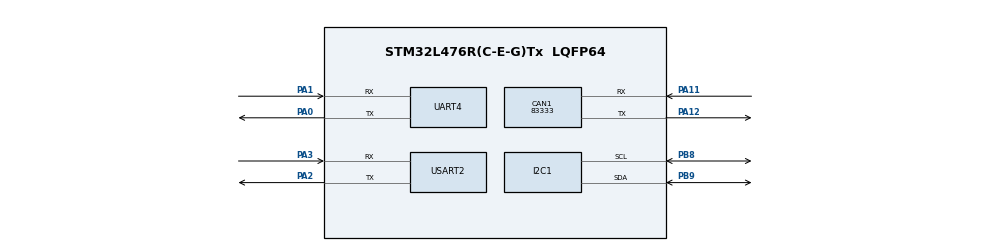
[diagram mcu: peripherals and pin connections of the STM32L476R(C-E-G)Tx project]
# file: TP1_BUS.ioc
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CAN1.CalculateBaudRate=83333
CAN1.CalculateTimeBit=12000.00
CAN1.CalculateTimeQuantum=4000.0
Mcu.Family=STM32L4
Mcu.Name=STM32L476R(C-E-G)Tx
Mcu.Package=LQFP64
NVIC.PriorityGroup=NVIC_PRIORITYGROUP_4
NVIC.UART4_IRQn=true\:0\:0\:false\:false\:true\:true\:true
NVIC.USART2_IRQn=true\:0\:0\:false\:false\:true\:true\:true
PA0.Mode=Asynchronous
PA0.Signal=UART4_TX
PA1.Mode=Asynchronous
PA1.Signal=UART4_RX
PA11.Mode=CAN_Activate
PA11.Signal=CAN1_RX
PA12.Mode=CAN_Activate
PA12.Signal=CAN1_TX
PA13\ (JTMS-SWDIO).Mode=Serial_Wire
PA13\ (JTMS-SWDIO).Signal=SYS_JTMS-SWDIO
PA14\ (JTCK-SWCLK).Mode=Serial_Wire
PA14\ (JTCK-SWCLK).Signal=SYS_JTCK-SWCLK
PA2.Mode=Asynchronous
PA2.Signal=USART2_TX
PA3.Mode=Asynchronous
PA3.Signal=USART2_RX
PB8.Mode=I2C
PB8.Signal=I2C1_SCL
PB9.Mode=I2C
PB9.Signal=I2C1_SDA
ProjectManager.HeapSize=0x200
ProjectManager.StackSize=0x400
ProjectManager.TargetToolchain=STM32CubeIDE
RCC.HSE_VALUE=8000000
RCC.HSI_VALUE=16000000
RCC.LSE_VALUE=32768
RCC.MSI_VALUE=4000000
RCC.VCOOutputFreq_Value=32000000
USART2.VirtualMode-Asynchronous=VM_ASYNC
board=custom

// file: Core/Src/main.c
/* USER CODE BEGIN Header */
/**
 ******************************************************************************
 * @file           : main.c
 * @brief          : Main program body
 ******************************************************************************
 * @attention
 *
 * <h2><center>&copy; Copyright (c) 2021 STMicroelectronics.
 * All rights reserved.</center></h2>
 *
 * This software component is licensed by ST under BSD 3-Clause license,
 * the "License"; You may not use this file except in compliance with the
 * License. You may obtain a copy of the License at:
 *                        opensource.org/licenses/BSD-3-Clause
 *
 ******************************************************************************
 */
/* USER CODE END Header */
#include "main.h"
#include "can.h"
#include "i2c.h"
#include "usart.h"
#include "gpio.h"

/* USER CODE BEGIN PV */
BMP280_S32_t T_nc;
BMP280_S32_t P_nc;
BMP280_S32_t T;
BMP280_U32_t P;

char echo[1];
int uart_it = 0;
/* USER CODE END PV */

void SystemClock_Config(void);

int main(void)
{

  /* MCU Configuration--------------------------------------------------------*/

  /* Reset of all peripherals, Initializes the Flash interface and the Systick. */
  HAL_Init();

  /* Configure the system clock */
  SystemClock_Config();

  /* Initialize all configured peripherals */
  MX_GPIO_Init();
  MX_CAN1_Init();
  MX_I2C1_Init();
  MX_USART2_UART_Init();
  MX_UART4_Init();
  /* USER CODE BEGIN 2 */
	printf("\r\n========== TP1 : Bus et Réseaux ==========\r\n");
	Get_id();
	Set_config();
	Get_calib();
	T_nc = Get_T();
	printf("Temperature: %.2f C\r\n",(float)T_nc/100);
	P_nc = Get_P();
	printf("Pression: %.0f Pa\r\n",(float)P_nc/256);

	T=bmp280_compensate_T_int32(T_nc);
	printf("Temperature compensée: %.2f C\r\n",(float)T/100);
	P=bmp280_compensate_P_int64(P_nc);
	printf("Pression compensée: %.0f Pa\r\n",(float)P/256);
  /* USER CODE END 2 */

  /* Infinite loop */
  /* USER CODE BEGIN WHILE */
	HAL_UART_Receive_IT(&huart2, (uint8_t *) echo, 1);
	while (1)
	{
		if (uart_it==1)
		{
			HAL_UART_Transmit(&huart2, (uint8_t *)&echo, 1, 0xFFFF);
			uart_it=0;
		}
    /* USER CODE END WHILE */

	}
}

void SystemClock_Config(void)
{
  RCC_OscInitTypeDef RCC_OscInitStruct = {0};
  RCC_ClkInitTypeDef RCC_ClkInitStruct = {0};

  /** Configure the main internal regulator output voltage
  */
  if (HAL_PWREx_ControlVoltageScaling(PWR_REGULATOR_VOLTAGE_SCALE1) != HAL_OK)
  {
    Error_Handler();
  }
  /** Initializes the RCC Oscillators according to the specified parameters
  * in the RCC_OscInitTypeDef structure.
  */
  RCC_OscInitStruct.OscillatorType = RCC_OSCILLATORTYPE_MSI;
  RCC_OscInitStruct.MSIState = RCC_MSI_ON;
  RCC_OscInitStruct.MSICalibrationValue = 0;
  RCC_OscInitStruct.MSIClockRange = RCC_MSIRANGE_6;
  RCC_OscInitStruct.PLL.PLLState = RCC_PLL_NONE;
  if (HAL_RCC_OscConfig(&RCC_OscInitStruct) != HAL_OK)
  {
    Error_Handler();
  }
  /** Initializes the CPU, AHB and APB buses clocks
  */
  RCC_ClkInitStruct.ClockType = RCC_CLOCKTYPE_HCLK|RCC_CLOCKTYPE_SYSCLK
                              |RCC_CLOCKTYPE_PCLK1|RCC_CLOCKTYPE_PCLK2;
  RCC_ClkInitStruct.SYSCLKSource = RCC_SYSCLKSOURCE_MSI;
  RCC_ClkInitStruct.AHBCLKDivider = RCC_SYSCLK_DIV1;
  RCC_ClkInitStruct.APB1CLKDivider = RCC_HCLK_DIV1;
  RCC_ClkInitStruct.APB2CLKDivider = RCC_HCLK_DIV1;

  if (HAL_RCC_ClockConfig(&RCC_ClkInitStruct, FLASH_LATENCY_0) != HAL_OK)
  {
    Error_Handler();
  }
}

/* USER CODE BEGIN 4 */

void HAL_UART_RxCpltCallback(UART_HandleTypeDef* huart)
{
	uart_it=1;
	if(huart->Instance==UART4){
		HAL_UART_Receive_IT(&huart4, (uint8_t *) echo, 1);
	}else{
		HAL_UART_Receive_IT(&huart2, (uint8_t *) echo, 1);
	}
}

/* USER CODE END 4 */

void Error_Handler(void)
{
	__disable_irq();
	while (1)
	{
	}
}

/************************ (C) COPYRIGHT STMicroelectronics *****END OF FILE****/
